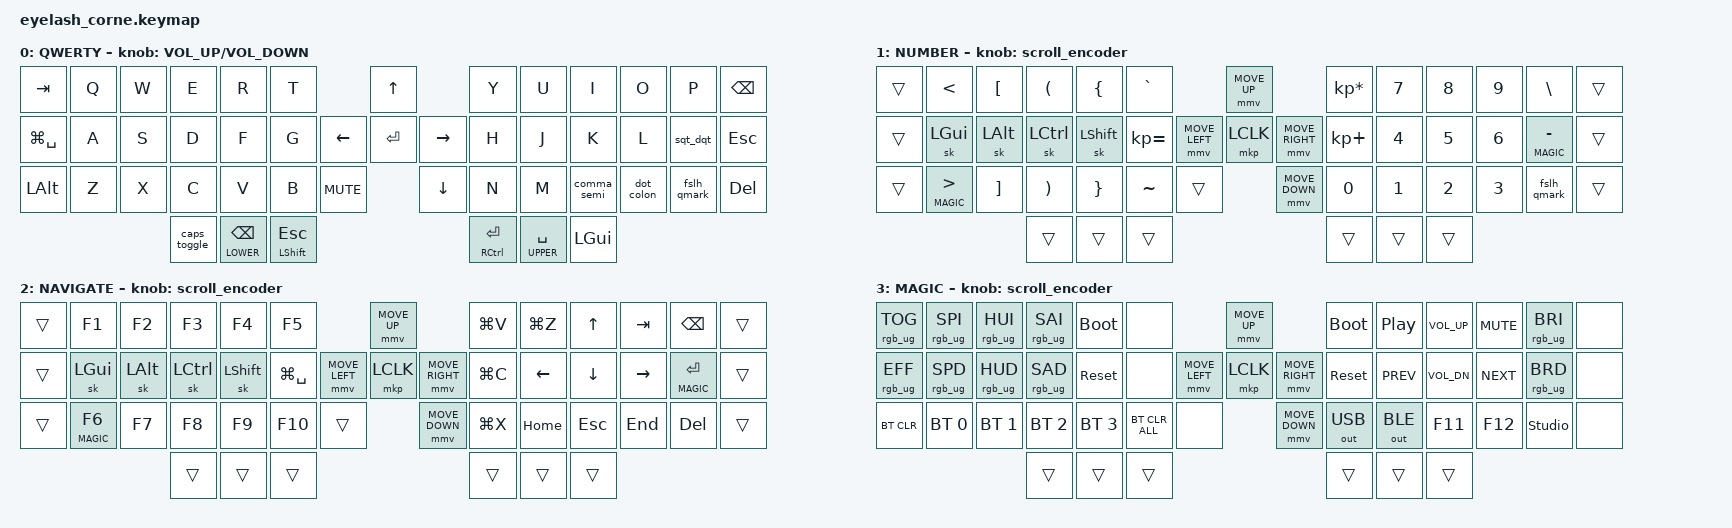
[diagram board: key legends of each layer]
#include <behaviors.dtsi>
#include <dt-bindings/zmk/bt.h>
#include <dt-bindings/zmk/keys.h>
#include <dt-bindings/zmk/mouse.h>
#include <dt-bindings/zmk/outputs.h>
#include <dt-bindings/zmk/rgb.h>

#include <input/processors.dtsi>

/*

   &mmv_input_listener {
       input-processors = <&zip_xy_scaler 2 1>;
   };

   &msc_input_listener {
       input-processors = <&zip_xy_scaler 2 1>;
   };

 */

#define ZMK_MOUSE_DEFAULT_MOVE_VAL 1200  // 600
#define ZMK_MOUSE_DEFAULT_SCRL_VAL 20    // 10

// layers
#define QWERTY 0
#define LOWER  1
#define UPPER  2
#define MAGIC  3

/ {
    behaviors {
        caps_toggle: tap_dance_caps_toggle {
            compatible = "zmk,behavior-tap-dance";
            #binding-cells = <0>;
            bindings = <&caps_word>, <&kp LS(CAPS)>;
        };
        comma_semi: comma_semi {
            compatible = "zmk,behavior-mod-morph";
            #binding-cells = <0>;
            bindings = <&kp COMMA>, <&kp SEMI>;
            mods = <(MOD_LSFT|MOD_RSFT)>;
        };
        dot_colon: dot_colon {
            compatible = "zmk,behavior-mod-morph";
            #binding-cells = <0>;
            bindings = <&kp DOT>, <&kp COLON>;
            mods = <(MOD_LSFT|MOD_RSFT)>;
        };
        sqt_dqt: sqt_dqt {
            compatible = "zmk,behavior-mod-morph";
            #binding-cells = <0>;
            bindings = <&kp SQT>, <&kp DQT>;
            mods = <(MOD_LSFT|MOD_RSFT)>;
        };
        fslh_qmark: fslh_qmark {
            compatible = "zmk,behavior-mod-morph";
            #binding-cells = <0>;
            bindings = <&kp FSLH>, <&kp QMARK>;
            mods = <(MOD_LSFT|MOD_RSFT)>;
        };
    };

    scroll_encoder: scroll_encoder {
        compatible = "zmk,behavior-sensor-rotate";
        #sensor-binding-cells = <0>;
        bindings = <&msc SCRL_DOWN>, <&msc SCRL_UP>;
        tap-ms = <30>;
    };

    keymap {
        compatible = "zmk,keymap";

        default_layer {
            display-name = "QWERTY";
            // --------------------------------------------------------------------------------------
            // | TAB  ||  Q  |  W  |  E  |  R  |  T  |            |  Y  |  U  |  I  |  O  |  P  || BSPC |
            // | G+SPC||  A  |  S  |  D  |  F  |  G  |            |  H  |  J  |  K  |  L  | '/''|| ESC  |
            // | LALT ||  Z  |  X  |  C  |  V  |  B  |            |  N  |  M  | ,/; | ./: | //? || DEL  |
            //                     | CAPS | LWR/BSPC | SFT/ESC || CTL/RET | UPR/SPC | GUI |
            bindings = <
&kp TAB        &kp Q  &kp W  &kp E        &kp R          &kp T                                &kp UP                 &kp Y        &kp U          &kp I          &kp O      &kp P          &kp BSPC
&kp LG(SPACE)  &kp A  &kp S  &kp D        &kp F          &kp G                  &kp LEFT      &kp ENTER  &kp RIGHT   &kp H        &kp J          &kp K          &kp L      &sqt_dqt       &kp ESC
&kp LALT       &kp Z  &kp X  &kp C        &kp V          &kp B    &kp C_MUTE                  &kp DOWN               &kp N        &kp M          &comma_semi    &dot_colon &fslh_qmark    &kp DEL
                              &caps_toggle &lt LOWER BSPC &mt LSHFT ESC                                                &mt RCTL RET &lt UPPER SPACE &kp LGUI
            >;
            sensor-bindings = <&inc_dec_kp C_VOLUME_UP C_VOLUME_DOWN>;
        };

        lower_layer {
            display-name = "NUMBER";
            // --------------------------------------------------------------------------------------
            // |  ▽  ||  <  |  [  |  (  |  {  |  `  |            |  *  |  7  |  8  |  9  |  \  ||  ▽  |
            // |  ▽  || GUI | ALT | CTL | SFT |  =  |            |  +  |  4  |  5  |  6  | -/MG||  ▽  |
            // |  ▽  || >/MG|  ]  |  )  |  }  |  ~  |            |  0  |  1  |  2  |  3  | //? ||  ▽  |
            //                     |  ▽  |  ▽  |  ▽  |            |  ▽  |  ▽  |  ▽  |
            bindings = <
&trans  &kp LT           &kp LBKT  &kp LPAR   &kp LBRC   &kp GRAVE                                    &mmv MOVE_UP                     &kp KP_MULTIPLY  &kp N7  &kp N8  &kp N9  &kp BSLH        &trans
&trans  &sk LGUI         &sk LALT  &sk LCTRL  &sk LSHFT  &kp KP_EQUAL                 &mmv MOVE_LEFT   &mkp LCLK       &mmv MOVE_RIGHT  &kp KP_PLUS      &kp N4  &kp N5  &kp N6  &lt MAGIC MINUS &trans
&trans  &lt MAGIC GT     &kp RBKT  &kp RPAR   &kp RBRC   &kp TILDE      &trans                        &mmv MOVE_DOWN                   &kp N0           &kp N1  &kp N2  &kp N3  &fslh_qmark     &trans
                                   &trans     &trans     &trans                                                                          &trans           &trans  &trans
            >;
            sensor-bindings = <&scroll_encoder>;
        };

        upper_layer {
            display-name = "NAVIGATE";
            // --------------------------------------------------------------------------------------
            // |  ▽  ||  F1  |  F2  |  F3  |  F4  |  F5  |            | G+V  | G+Z  |  UP  |  TAB  |  BSPC  ||  ▽  |
            // |  ▽  ||  GUI |  ALT |  CTL |  SFT | G+SPC|            | G+C  | LEFT  | DOWN | RIGHT | RET/MG ||  ▽  |
            // |  ▽  || F6/MG|  F7  |  F8  |  F9  |  F10 |            | G+X  | HOME  |  ESC | END   |  DEL   ||  ▽  |
            //                       |  ▽  |  ▽  |  ▽  |            |  ▽  |  ▽  |  ▽  |
            bindings = <
&trans  &kp F1        &kp F2   &kp F3    &kp F4    &kp F5                               &mmv MOVE_UP                     &kp LG(V)  &kp LG(Z)  &kp UP    &kp TAB    &kp BSPC       &trans
&trans  &sk LGUI      &sk LALT &sk LCTRL &sk LSHFT &kp LG(SPACE)        &mmv MOVE_LEFT  &mkp LCLK       &mmv MOVE_RIGHT  &kp LG(C)  &kp LEFT   &kp DOWN  &kp RIGHT  &lt MAGIC RET  &trans
&trans  &lt MAGIC F6  &kp F7   &kp F8    &kp F9    &kp F10        &trans                &mmv MOVE_DOWN                   &kp LG(X)  &kp HOME   &kp ESC   &kp END    &kp DEL        &trans
                               &trans    &trans    &trans                                                                 &trans     &trans     &trans
            >;
            sensor-bindings = <&scroll_encoder>;
        };

        magic_layer {
            display-name = "MAGIC";
            bindings = <
&rgb_ug RGB_TOG  &rgb_ug RGB_SPI  &rgb_ug RGB_HUI  &rgb_ug RGB_SAI  &bootloader    &none                                   &mmv MOVE_UP                     &bootloader   &kp C_PP     &kp C_VOL_UP  &kp C_MUTE  &rgb_ug RGB_BRI  &none
&rgb_ug RGB_EFF  &rgb_ug RGB_SPD  &rgb_ug RGB_HUD  &rgb_ug RGB_SAD  &sys_reset     &none                   &mmv MOVE_LEFT  &mkp LCLK       &mmv MOVE_RIGHT  &sys_reset    &kp C_PREV   &kp C_VOL_DN  &kp C_NEXT  &rgb_ug RGB_BRD  &none
&bt BT_CLR       &bt BT_SEL 0     &bt BT_SEL 1     &bt BT_SEL 2     &bt BT_SEL 3   &bt BT_CLR_ALL  &none                   &mmv MOVE_DOWN                   &out OUT_USB  &out OUT_BLE &kp F11       &kp F12     &studio_unlock   &none
                                                    &trans           &trans         &trans                                                                    &trans        &trans       &trans
            >;
            sensor-bindings = <&scroll_encoder>;
        };
    };
};
